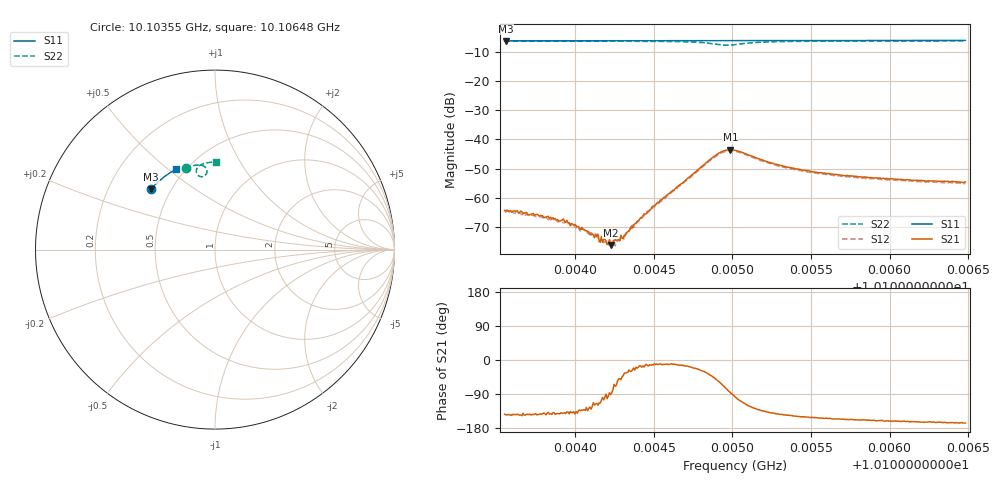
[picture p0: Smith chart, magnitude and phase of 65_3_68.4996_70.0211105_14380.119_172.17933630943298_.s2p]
#  HZ  S  RI  R  50.00
! Rohde & Schwarz Vector Network Analyzer
! Rohde-Schwarz,ZNB20-2Port,1311601062101988,3.16
! Created: UTC 3/20/2024, 4:51:25 PM
! freq[Hz]  re:S11  im:S11  re:S21  im:S21  re:S12  im:S12  re:S22  im:S22
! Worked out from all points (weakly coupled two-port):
!   401 points, 10.10355 GHz to 10.10648 GHz, reference 50 ohm
!   highest |S21| = -43.55 dB at 10.10499 GHz (marker M1); lowest = -76.2 dB at 10.10422 GHz (marker M2)
!   lowest |S11| = -6.2 dB at 10.10356 GHz (marker M3), VSWR 2.92, Z = 19.5 + j17.2 ohm
!   |S11| at or under -10 dB: nowhere
!   |S22| runs from -7.7 to -6.2 dB; largest |S21 - S12| = 0.00068
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1.010355e10  -0.3568 0.3358  -0.000484 -0.000361  -0.00043 -0.000368  -0.1643 0.4536
1.0103557e10  -0.3564 0.3362  -0.000489 -0.000349  -0.000427 -0.000377  -0.1638 0.4539
1.0103931e10  -0.3412 0.353  -0.000296 -0.000259  -0.000277 -0.000246  -0.139 0.4629
1.0104041e10  -0.3366 0.3578  -0.000209 -0.00023  -0.000183 -0.000235  -0.1312 0.4651
1.0104056e10  -0.3361 0.3585  -0.000187 -0.000215  -0.000161 -0.000231  -0.1302 0.4654
1.0104107e10  -0.3339 0.3608  -0.000133 -0.000201  -0.000115 -0.00019  -0.1264 0.4665
1.0104129e10  -0.3328 0.3617  -9.88e-05 -0.000203  -9.51e-05 -0.000238  -0.1247 0.4669
1.0104166e10  -0.3313 0.3632  -6.34e-05 -0.000207  -5.47e-05 -0.000175  -0.1218 0.4675
1.0104181e10  -0.3307 0.3639  -5.16e-05 -0.000191  -3.02e-05 -0.000169  -0.1209 0.4679
1.0104225e10  -0.3288 0.3658  -3.76e-06 -0.000155  5e-05 -0.000148  -0.1174 0.4687
1.0104269e10  -0.3269 0.3676  0.000105 -0.000155  0.000111 -0.00014  -0.1139 0.4695
1.0104313e10  -0.3249 0.3696  0.000189 -0.000131  0.000148 -0.000123  -0.1101 0.4701
1.0104349e10  -0.3233 0.3711  0.000251 -0.000144  0.000281 -0.000105  -0.1071 0.4706
1.0104533e10  -0.3151 0.3786  0.000818 -0.000161  0.000802 -8.26e-05  -0.0892 0.4721
1.0104884e10  -0.2987 0.3924  0.00349 -0.00378  0.00369 -0.00327  -0.0449 0.4307
1.0104936e10  -0.2964 0.3943  0.00258 -0.00565  0.00297 -0.00518  -0.0563 0.4119
1.0104987e10  -0.2939 0.3962  0.000432 -0.00663  0.000943 -0.00631  -0.0794 0.4061
1.0105016e10  -0.2928 0.3972  -0.000826 -0.00646  -0.000262 -0.00624  -0.0914 0.4111
1.0105295e10  -0.2796 0.4079  -0.00292 -0.00221  -0.00259 -0.00234  -0.0883 0.4666
1.0105508e10  -0.2694 0.4156  -0.00246 -0.00133  -0.00223 -0.00148  -0.0682 0.4772
1.0105999e10  -0.2444 0.4321  -0.00199 -0.000661  -0.00184 -0.000822  -0.0301 0.4859
1.0106483e10  -0.219 0.4467  -0.00181 -0.000436  -0.00167 -0.000588  0.00333 0.4888
